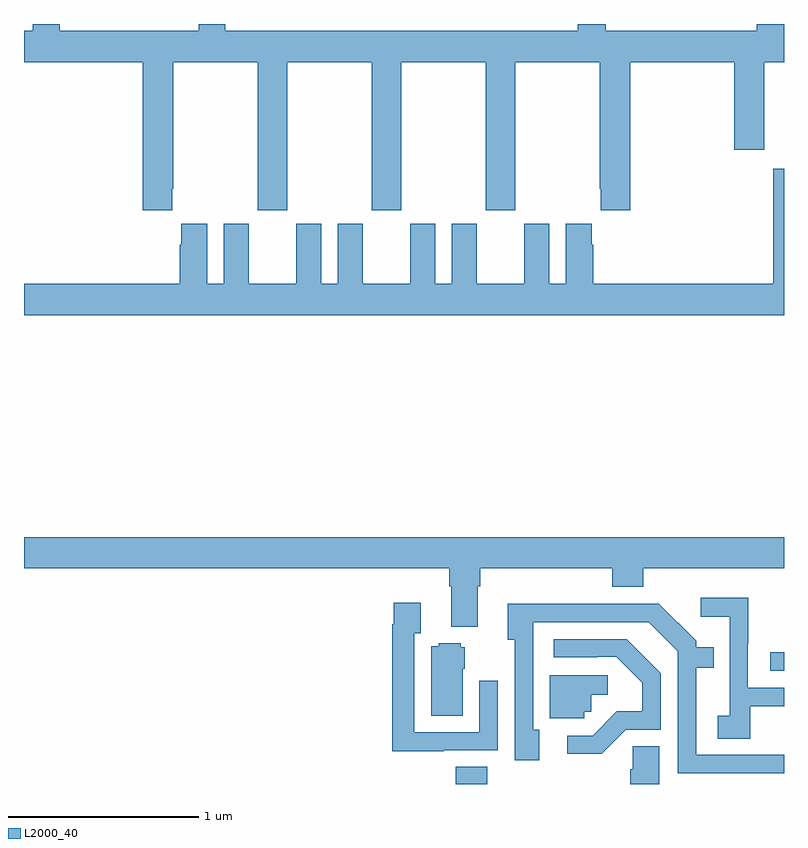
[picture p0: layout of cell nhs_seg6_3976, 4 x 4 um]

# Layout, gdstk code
import gdstk
lib = gdstk.Library(unit=1e-6, precision=1e-09)
def R(c, l, rs):  # rectangles x0, y0, x1, y1
    for r in rs: c.add(gdstk.rectangle(r[:2], r[2:], *l))
def P(c, l, *ps):  # polygons
    for p in ps: c.add(gdstk.Polygon(p, *l))
L2000_40 = (2000, 40)

nhs_seg6_3976 = lib.new_cell('nhs_seg6_3976')
R(nhs_seg6_3976, L2000_40, [(347.273,979.5,347.438,979.592), (348.927,980.097,349,980.193)])
P(nhs_seg6_3976, L2000_40, [(348.856,983.464),(348.061,983.464),(348.061,983.5),(347.914,983.5),(347.914,983.464),(346.06,983.464),(346.06,983.5),(345.921,983.5),(345.921,983.464),(345.187,983.464),(345.187,983.5),(345.047,983.5),(345.047,983.464),(345,983.464),(345,983.3),(345.626,983.3),(345.626,982.521),(345.781,982.521),(345.781,982.633),(345.786,982.633),(345.786,983.3),(346.231,983.3),(346.231,982.521),(346.386,982.521),(346.386,983.3),(346.831,983.3),(346.831,982.521),(346.986,982.521),(346.986,983.3),(347.431,983.3),(347.431,982.521),(347.586,982.521),(347.586,983.3),(348.031,983.3),(348.031,982.633),(348.035,982.633),(348.035,982.521),(348.191,982.521),(348.191,983.3),(348.737,983.3),(348.737,982.839),(348.897,982.839),(348.897,983.3),(349,983.3),(349,983.5),(348.856,983.5)],
  [(349,982.738),(348.944,982.738),(348.944,982.132),(347.996,982.132),(347.996,982.337),(347.989,982.337),(347.989,982.45),(347.852,982.45),(347.852,982.132),(347.764,982.132),(347.764,982.45),(347.633,982.45),(347.633,982.132),(347.383,982.132),(347.383,982.45),(347.252,982.45),(347.252,982.132),(347.164,982.132),(347.164,982.45),(347.033,982.45),(347.033,982.132),(346.783,982.132),(346.783,982.45),(346.652,982.45),(346.652,982.132),(346.564,982.132),(346.564,982.45),(346.433,982.45),(346.433,982.132),(346.183,982.132),(346.183,982.45),(346.052,982.45),(346.052,982.132),(345.964,982.132),(345.964,982.45),(345.827,982.45),(345.827,982.337),(345.821,982.337),(345.821,982.132),(345,982.132),(345,981.968),(349,981.968)],
  [(347.389,980.54),(347.402,980.54),(347.402,980.636),(348.095,980.636),(348.095,980.537),(348.26,980.537),(348.26,980.636),(349,980.636),(349,980.8),(345,980.8),(345,980.636),(347.237,980.636),(347.237,980.54),(347.249,980.54),(347.249,980.327),(347.389,980.327)],
  [(348.823,979.909),(349,979.909),(349,980.007),(348.81,980.007),(348.81,980.24),(348.813,980.24),(348.813,980.479),(348.561,980.479),(348.561,980.381),(348.714,980.381),(348.714,979.86),(348.651,979.86),(348.651,979.738),(348.823,979.738)],
  [(347.209,979.677),(347.493,979.677),(347.493,980.044),(347.397,980.044),(347.397,979.773),(347.055,979.773),(347.055,980.294),(347.089,980.294),(347.089,980.455),(346.947,980.455),(346.947,980.342),(346.939,980.342),(346.939,979.673),(347.209,979.673)],
  [(349,979.653),(348.538,979.653),(348.538,980.112),(348.629,980.112),(348.629,980.221),(348.537,980.221),(348.537,980.253),(348.342,980.448),(348.011,980.448),(348.011,980.45),(347.546,980.45),(347.546,980.258),(347.583,980.258),(347.583,979.626),(347.713,979.626),(347.713,979.786),(347.679,979.786),(347.679,980.352),(348.288,980.352),(348.441,980.199),(348.441,979.557),(349,979.557)],
  [(348.168,979.785),(348.351,979.785),(348.351,980.083),(348.172,980.262),(347.787,980.262),(347.787,980.166),(348.017,980.166),(348.017,980.169),(348.117,980.169),(348.254,980.032),(348.254,979.882),(348.121,979.882),(347.994,979.755),(347.859,979.755),(347.859,979.658),(348.04,979.658)],
  [(347.308,980.106),(347.32,980.106),(347.32,980.22),(347.298,980.22),(347.298,980.242),(347.184,980.242),(347.184,980.224),(347.144,980.224),(347.144,979.858),(347.308,979.858)],
  [(347.949,979.881),(347.985,979.881),(347.985,979.97),(348.073,979.97),(348.073,980.073),(347.768,980.073),(347.768,979.845),(347.949,979.845)],
  [(348.343,979.7),(348.205,979.7),(348.205,979.578),(348.191,979.578),(348.191,979.5),(348.343,979.5)])

lib.write_gds('nhs_seg6_3976.gds')
